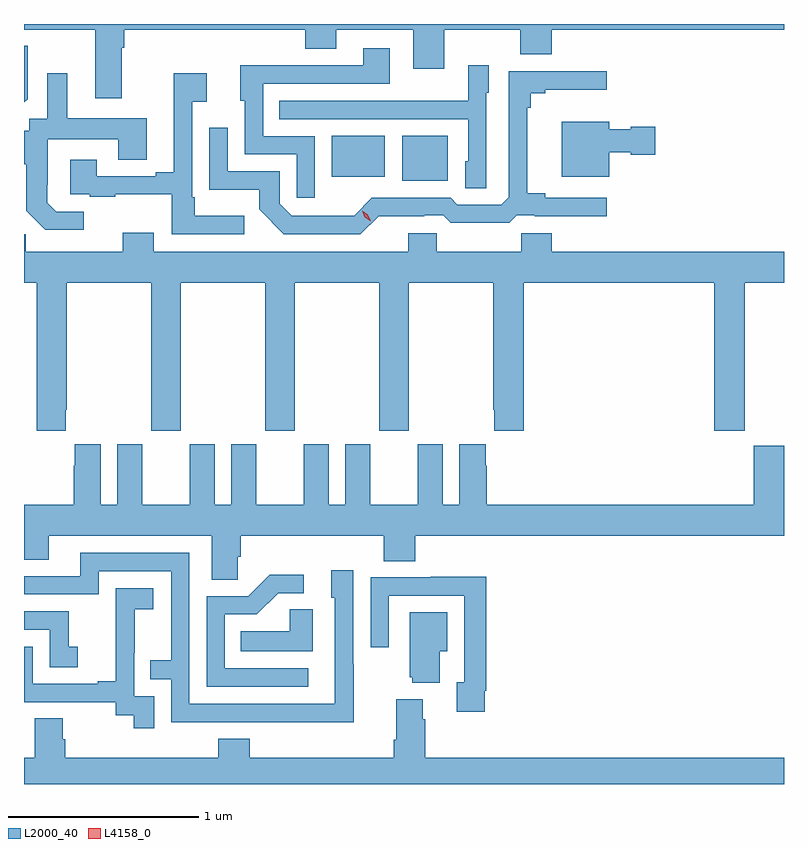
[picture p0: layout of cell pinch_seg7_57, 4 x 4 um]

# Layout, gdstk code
import gdstk
lib = gdstk.Library(unit=1e-6, precision=1e-09)
def R(c, l, rs):  # rectangles x0, y0, x1, y1
    for r in rs: c.add(gdstk.rectangle(r[:2], r[2:], *l))
def P(c, l, *ps):  # polygons
    for p in ps: c.add(gdstk.Polygon(p, *l))
L2000_40 = (2000, 40)
L4158_0 = (4158, 0)

pinch_seg7_57 = lib.new_cell('pinch_seg7_57')
R(pinch_seg7_57, L2000_40, [(892.784,1079.741,893.023,1079.977), (892.412,1079.762,892.69,1079.977)])
P(pinch_seg7_57, L2000_40, [(891.307,1080.44),(891.32,1080.44),(891.32,1080.536),(892.271,1080.536),(892.271,1080.437),(892.435,1080.437),(892.435,1080.536),(892.841,1080.536),(892.841,1080.33),(893.005,1080.33),(893.005,1080.536),(893.405,1080.536),(893.405,1080.408),(893.569,1080.408),(893.569,1080.536),(894.792,1080.536),(894.792,1080.566),(890.792,1080.566),(890.792,1080.536),(891.167,1080.536),(891.167,1080.174),(891.307,1080.174)],
  [(890.811,1080.171),(890.811,1080.451),(890.792,1080.451),(890.792,1080.153)],
  [(892.323,1079.976),(892.05,1079.976),(892.05,1080.252),(892.717,1080.252),(892.717,1080.439),(892.577,1080.439),(892.577,1080.348),(892.147,1080.348),(892.147,1080.35),(891.929,1080.35),(891.929,1080.162),(891.954,1080.162),(891.954,1079.88),(892.227,1079.88),(892.227,1079.652),(892.323,1079.652)],
  [(893.226,1080.204),(893.239,1080.204),(893.239,1080.349),(893.13,1080.349),(893.13,1080.163),(892.813,1080.163),(892.813,1080.162),(892.135,1080.162),(892.135,1080.066),(893.13,1080.066),(893.13,1079.844),(893.114,1079.844),(893.114,1079.701),(893.226,1079.701)],
  [(892.658,1079.555),(892.898,1079.555),(892.898,1079.559),(892.998,1079.559),(893.038,1079.52),(893.345,1079.52),(893.385,1079.559),(893.479,1079.559),(893.479,1079.555),(893.86,1079.555),(893.86,1079.652),(893.536,1079.652),(893.536,1079.675),(893.441,1079.675),(893.441,1080.125),(893.459,1080.125),(893.459,1080.202),(893.536,1080.202),(893.536,1080.221),(893.86,1080.221),(893.86,1080.318),(893.343,1080.318),(893.343,1079.655),(893.304,1079.616),(893.073,1079.616),(893.037,1079.652),(892.623,1079.652),(892.529,1079.558),(892.424,1079.558),(892.424,1079.556),(892.2,1079.556),(892.137,1079.619),(892.137,1079.79),(891.864,1079.79),(891.864,1080.019),(891.768,1080.019),(891.768,1079.693),(892.03,1079.693),(892.03,1079.591),(892.16,1079.46),(892.563,1079.46)],
  [(891.106,1079.577),(890.961,1079.577),(890.914,1079.624),(890.914,1079.719),(890.916,1079.719),(890.916,1079.96),(891.287,1079.96),(891.287,1079.851),(891.439,1079.851),(891.439,1080.07),(891.019,1080.07),(891.019,1080.307),(890.915,1080.307),(890.915,1080.068),(890.82,1080.068),(890.82,1080.004),(890.792,1080.004),(890.792,1079.829),(890.805,1079.829),(890.805,1079.583),(890.905,1079.483),(891.106,1079.483)],
  [(891.952,1079.557),(891.691,1079.557),(891.691,1079.653),(891.678,1079.653),(891.678,1080.158),(891.754,1080.158),(891.754,1080.307),(891.581,1080.307),(891.581,1079.785),(891.485,1079.785),(891.485,1079.766),(891.175,1079.766),(891.175,1079.851),(891.035,1079.851),(891.035,1079.67),(891.139,1079.67),(891.139,1079.658),(891.271,1079.658),(891.271,1079.669),(891.57,1079.669),(891.57,1079.46),(891.952,1079.46)],
  [(893.872,1079.891),(893.985,1079.891),(893.985,1079.879),(894.115,1079.879),(894.115,1080.026),(893.985,1080.026),(893.985,1080.013),(893.872,1080.013),(893.872,1080.052),(893.621,1080.052),(893.621,1079.762),(893.872,1079.762)],
  [(891.013,1078.537),(891.018,1078.537),(891.018,1079.204),(891.463,1079.204),(891.463,1078.425),(891.618,1078.425),(891.618,1079.204),(892.063,1079.204),(892.063,1078.425),(892.218,1078.425),(892.218,1079.204),(892.663,1079.204),(892.663,1078.425),(892.818,1078.425),(892.818,1079.204),(893.263,1079.204),(893.263,1078.537),(893.267,1078.537),(893.267,1078.425),(893.423,1078.425),(893.423,1079.204),(894.425,1079.204),(894.425,1078.425),(894.585,1078.425),(894.585,1079.204),(894.792,1079.204),(894.792,1079.368),(893.57,1079.368),(893.57,1079.466),(893.41,1079.466),(893.41,1079.368),(892.965,1079.368),(892.965,1079.466),(892.814,1079.466),(892.814,1079.368),(891.475,1079.368),(891.475,1079.467),(891.311,1079.467),(891.311,1079.368),(890.801,1079.368),(890.801,1079.459),(890.792,1079.459),(890.792,1079.204),(890.858,1079.204),(890.858,1078.425),(891.013,1078.425)],
  [(891.884,1078.036),(891.796,1078.036),(891.796,1078.354),(891.665,1078.354),(891.665,1078.036),(891.415,1078.036),(891.415,1078.354),(891.284,1078.354),(891.284,1078.036),(891.196,1078.036),(891.196,1078.354),(891.059,1078.354),(891.059,1078.241),(891.053,1078.241),(891.053,1078.036),(890.792,1078.036),(890.792,1077.745),(890.923,1077.745),(890.923,1077.872),(891.779,1077.872),(891.779,1077.64),(891.918,1077.64),(891.918,1077.763),(891.932,1077.763),(891.932,1077.872),(892.685,1077.872),(892.685,1077.739),(892.85,1077.739),(892.85,1077.872),(894.792,1077.872),(894.792,1078.345),(894.632,1078.345),(894.632,1078.036),(893.228,1078.036),(893.228,1078.241),(893.221,1078.241),(893.221,1078.354),(893.084,1078.354),(893.084,1078.036),(892.996,1078.036),(892.996,1078.354),(892.865,1078.354),(892.865,1078.036),(892.615,1078.036),(892.615,1078.354),(892.484,1078.354),(892.484,1078.036),(892.396,1078.036),(892.396,1078.354),(892.265,1078.354),(892.265,1078.036),(892.015,1078.036),(892.015,1078.354),(891.884,1078.354)],
  [(892.527,1077.197),(892.524,1077.197),(892.524,1077.691),(892.409,1077.691),(892.409,1077.546),(892.428,1077.546),(892.428,1076.988),(891.663,1076.988),(891.663,1077.783),(891.089,1077.783),(891.089,1077.66),(890.792,1077.66),(890.792,1077.564),(891.186,1077.564),(891.186,1077.687),(891.567,1077.687),(891.567,1077.218),(891.457,1077.218),(891.457,1077.117),(891.567,1077.117),(891.567,1076.892),(892.063,1076.892),(892.063,1076.891),(892.527,1076.891)],
  [(892.288,1077.174),(891.849,1077.174),(891.849,1077.459),(892.018,1077.459),(892.129,1077.57),(892.264,1077.57),(892.264,1077.668),(892.085,1077.668),(891.972,1077.555),(891.753,1077.555),(891.753,1077.078),(892.288,1077.078)],
  [(893.218,1077.058),(893.225,1077.058),(893.225,1077.656),(892.933,1077.656),(892.933,1077.654),(892.617,1077.654),(892.617,1077.285),(892.713,1077.285),(892.713,1077.558),(893.109,1077.558),(893.109,1077.102),(893.069,1077.102),(893.069,1076.946),(893.218,1076.946)],
  [(891.477,1077.027),(891.372,1077.027),(891.372,1077.257),(891.374,1077.257),(891.374,1077.485),(891.472,1077.485),(891.472,1077.595),(891.274,1077.595),(891.274,1077.389),(891.275,1077.389),(891.275,1077.106),(891.179,1077.106),(891.179,1077.093),(890.838,1077.093),(890.838,1077.288),(890.792,1077.288),(890.792,1076.997),(891.276,1076.997),(891.276,1076.929),(891.369,1076.929),(891.369,1076.859),(891.477,1076.859)],
  [(892.312,1077.485),(892.191,1077.485),(892.191,1077.37),(891.934,1077.37),(891.934,1077.266),(892.312,1077.266)],
  [(891.076,1077.289),(891.027,1077.289),(891.027,1077.474),(890.792,1077.474),(890.792,1077.378),(890.928,1077.378),(890.928,1077.18),(891.076,1077.18)],
  [(892.981,1077.266),(893.02,1077.266),(893.02,1077.469),(892.823,1077.469),(892.823,1077.129),(892.835,1077.129),(892.835,1077.098),(892.981,1077.098)],
  [(894.792,1076.704),(892.904,1076.704),(892.904,1076.906),(892.891,1076.906),(892.891,1077.013),(892.751,1077.013),(892.751,1076.8),(892.739,1076.8),(892.739,1076.704),(891.98,1076.704),(891.98,1076.803),(891.815,1076.803),(891.815,1076.704),(891.008,1076.704),(891.008,1076.802),(890.995,1076.802),(890.995,1076.912),(890.848,1076.912),(890.848,1076.704),(890.792,1076.704),(890.792,1076.566),(894.792,1076.566)])
P(pinch_seg7_57, L4158_0, [(892.617,1079.528),(892.586,1079.549),(892.571,1079.583),(892.571,1079.583),(892.571,1079.583),(892.602,1079.562),(892.618,1079.528),(892.618,1079.528)])

lib.write_gds('pinch_seg7_57.gds')
